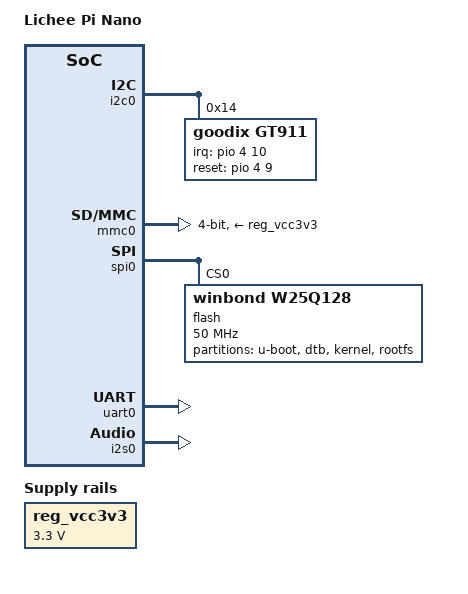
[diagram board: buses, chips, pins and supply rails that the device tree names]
// SPDX-License-Identifier: (GPL-2.0+ OR X11)
/*
 * Copyright 2018 Icenowy Zheng <icenowy@aosc.io>
 */

/dts-v1/;
#include "suniv-f1c100s.dtsi"
#include <dt-bindings/gpio/gpio.h>
#include <dt-bindings/input/input.h>
#include <dt-bindings/interrupt-controller/irq.h>
#include "sunxi-common-regulators.dtsi"

/ {
	model = "Lichee Pi Nano";
	compatible = "licheepi,licheepi-nano", "allwinner,suniv-f1c100s",
		     "allwinner,suniv";

	aliases {
		serial0 = &uart0;
		spi0 = &spi0;
	};

	chosen {
		stdout-path = "serial0:115200n8";
	};

        pcm5102a: pcm5102a {
		#sound-dai-cells = <0>;
		compatible = "ti,pcm5102a";
		pcm510x,format = "i2s";
		                status = "okay";
	};

	sound_i2s {
		compatible = "simple-audio-card";
		simple-audio-card,name = "I2S-master";
		simple-audio-card,mclk-fs = <512>;
		simple-audio-card,format = "i2s";
		status = "okay";

		simple-audio-card,cpu {
			sound-dai = <&i2s0>;
		};

		simple-audio-card,codec {
			sound-dai = <&pcm5102a>;
		};
	};

	reg_vcc3v3: vcc3v3 {
		compatible = "regulator-fixed";
		regulator-name = "vcc3v3";
		regulator-min-microvolt = <3300000>;
		regulator-max-microvolt = <3300000>;
	};
};

&i2c0 {
    pinctrl-0 = <&i2c0_pins>;
    pinctrl-names = "default";
    status = "okay";

    gt911: touchscreen@14 {
        compatible = "goodix,gt911";
        reg = <0x14>;
        interrupt-parent = <&pio>;
        interrupts = <4 10 IRQ_TYPE_EDGE_FALLING>; /* (PE10) */
        pinctrl-names = "default";
        irq-gpios = <&pio 4 10 GPIO_ACTIVE_HIGH>; /* (PE10) */
        reset-gpios = <&pio 4 9 GPIO_ACTIVE_HIGH>; /* RST (PE9) */
        /* touchscreen-swapped-x-y */
    };
};

&mmc0 {
	vmmc-supply = <&reg_vcc3v3>;
	bus-width = <4>;
	broken-cd;
	status = "okay";
};

&pio {
    ts_reset_pin: ts_reset_pin@0 {
        pins = "PE9";
        function = "gpio_out";
    };
};

&spi0 {
	pinctrl-names = "default";
	pinctrl-0 = <&spi0_pins_a>;
	status = "okay";

	flash: w25q128@0 {
		#address-cells = <1>;
		#size-cells = <1>;
		compatible = "winbond,w25q128", "jedec,spi-nor";
		reg = <0>;
		spi-max-frequency = <50000000>;
		partitions {
			compatible = "fixed-partitions";
			#address-cells = <1>;
			#size-cells = <1>;

			partition@0 {
				label = "u-boot";
				reg = <0x000000 0x100000>;
				read-only;
			};

			partition@100000 {
				label = "dtb";
				reg = <0x100000 0x10000>;
				read-only;
			};

			partition@110000 {
				label = "kernel";
				reg = <0x110000 0x400000>;
				read-only;
			};

			partition@520000 {
				label = "rootfs";
				reg = <0x510000 0xAF0000>;
			};
		};
	};
};

&uart0 {
	pinctrl-names = "default";
	pinctrl-0 = <&uart0_pe_pins>;
	status = "okay";
};

&i2s0 {
	pinctrl-names = "default";
	pinctrl-0 = <&i2s0_mclk_pins_a>, <&i2s0_data_pins_a>;
	status = "okay";
};

&codec {
	allwinner,audio-routing =
	"Headphone", "HP",
	"Headphone", "HPCOM",
	"MIC", "Mic";
	status = "disabled";
};
